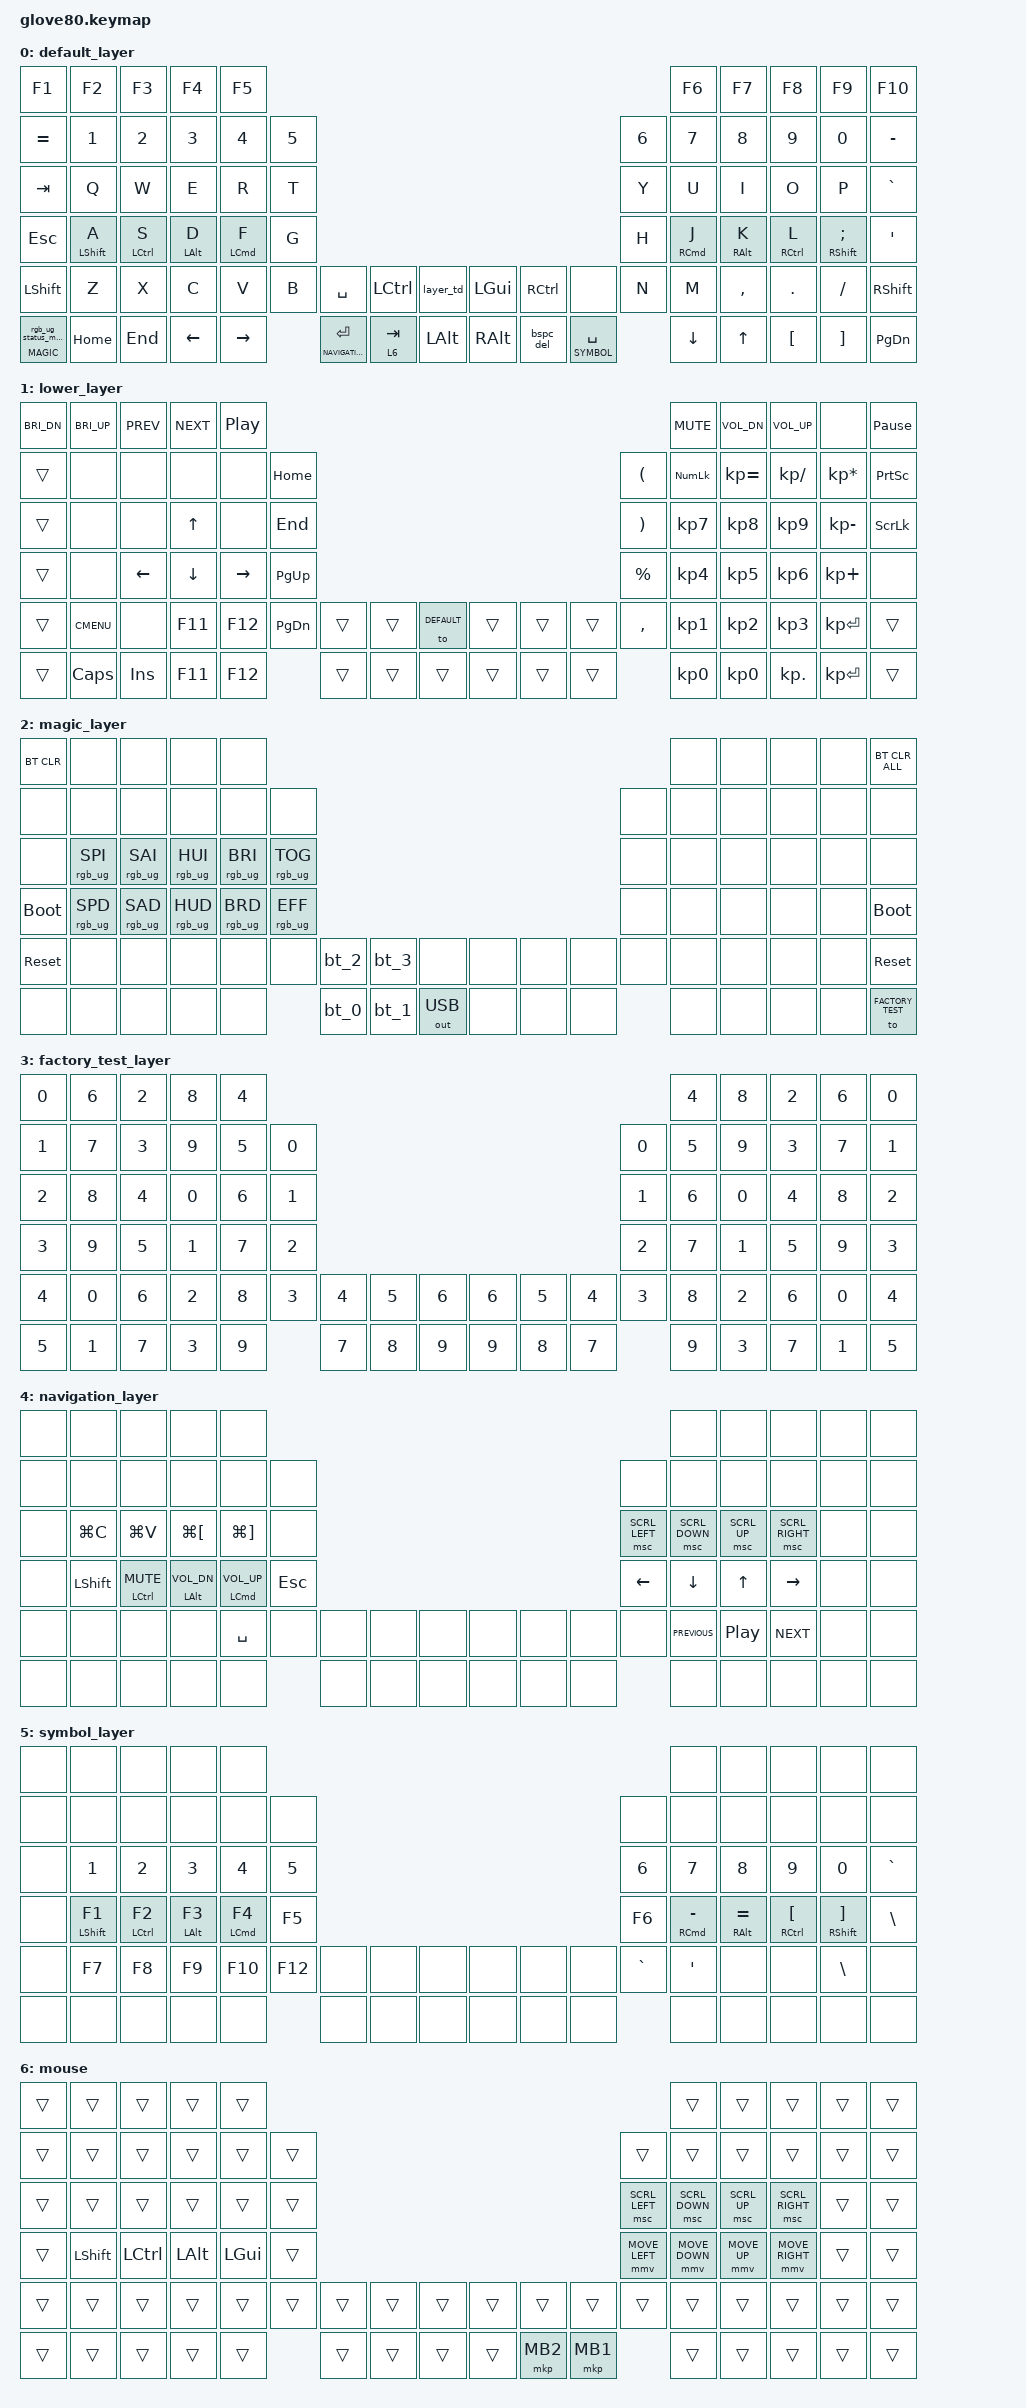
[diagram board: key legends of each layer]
/*
 * Copyright (c) 2020 The ZMK Contributors
 *
 * SPDX-License-Identifier: MIT
 */

#include <behaviors.dtsi>
#include <dt-bindings/zmk/bt.h>
#include <dt-bindings/zmk/keys.h>
#include <dt-bindings/zmk/outputs.h>
#include <dt-bindings/zmk/pointing.h>
#include <dt-bindings/zmk/rgb.h>

#define HYPER LC(LS(LG(LALT)))
#define ZMK_POINTING_DEFAULT_MOVE_VAL 1000

// layers

#define DEFAULT 0
#define LOWER 1
#define MAGIC 2
#define FACTORY_TEST 3
#define NAVIGATION 4
#define SYMBOL 5

/ {
    behaviors {
        // For the "layer" key, it'd nice to be able to use it as either a shift or a toggle.
        // Configure it as a tap dance, so the first tap (or hold) is a &mo and the second tap is a &to

        layer_td: tap_dance_0 {
            compatible = "zmk,behavior-tap-dance";
            label = "LAYER_TAP_DANCE";
            #binding-cells = <0>;
            tapping-term-ms = <200>;
            bindings = <&mo LOWER>, <&to LOWER>;
        };

        magic: magic_hold_tap {
            compatible = "zmk,behavior-hold-tap";
            label = "MAGIC_HOLD_TAP";
            #binding-cells = <2>;
            flavor = "tap-preferred";
            tapping-term-ms = <200>;
            bindings = <&mo>, <&rgb_ug_status_macro>;
        };

        hm: homerow_mods {
            compatible = "zmk,behavior-hold-tap";
            label = "HOMEROW_MODS";
            #binding-cells = <2>;
            tapping-term-ms = <200>;
            quick_tap_ms = <175>;
            flavor = "tap-preferred";
            bindings = <&kp>, <&kp>;
        };

        hm_ex: homerow_mods_extended {
            compatible = "zmk,behavior-hold-tap";
            label = "HOMEROW_MODS_EXTENDED";
            #binding-cells = <2>;
            tapping-term-ms = <275>;
            quick_tap_ms = <175>;
            flavor = "tap-preferred";
            bindings = <&kp>, <&kp>;
        };

        bspc_del: backspace_delete {
            compatible = "zmk,behavior-mod-morph";
            #binding-cells = <0>;
            bindings = <&kp BACKSPACE>, <&kp DELETE>;

            mods = <(MOD_LSFT|MOD_RSFT)>;
            keep-mods = <(MOD_RSFT)>;
        };
    };

    macros {
        rgb_ug_status_macro: rgb_ug_status_macro_0 {
            label = "RGB_UG_STATUS";
            compatible = "zmk,behavior-macro";
            #binding-cells = <0>;
            bindings = <&rgb_ug RGB_STATUS>;
        };

        bt_0: bt_profile_macro_0 {
            label = "BT_0";
            compatible = "zmk,behavior-macro";
            #binding-cells = <0>;
            bindings = <&out OUT_BLE &bt BT_SEL 0>;
        };

        bt_1: bt_profile_macro_1 {
            label = "BT_1";
            compatible = "zmk,behavior-macro";
            #binding-cells = <0>;
            bindings = <&out OUT_BLE &bt BT_SEL 1>;
        };

        bt_2: bt_profile_macro_2 {
            label = "BT_2";
            compatible = "zmk,behavior-macro";
            #binding-cells = <0>;
            bindings = <&out OUT_BLE &bt BT_SEL 2>;
        };

        bt_3: bt_profile_macro_3 {
            label = "BT_3";
            compatible = "zmk,behavior-macro";
            #binding-cells = <0>;
            bindings = <&out OUT_BLE &bt BT_SEL 3>;
        };
    };

    keymap {
        compatible = "zmk,keymap";

        default_layer {
            bindings = <
&kp F1          &kp F2            &kp F3                 &kp F4             &kp F5                                                                                                                      &kp F6                  &kp F7              &kp F8                  &kp F9                &kp F10
&kp EQUAL       &kp N1            &kp N2                 &kp N3             &kp N4                 &kp N5                                                                                       &kp N6  &kp N7                  &kp N8              &kp N9                  &kp N0                &kp MINUS
&kp TAB         &kp Q             &kp W                  &kp E              &kp R                  &kp T                                                                                        &kp Y   &kp U                   &kp I               &kp O                   &kp P                 &kp GRAVE
&kp ESC         &hm LEFT_SHIFT A  &hm_ex LEFT_CONTROL S  &hm_ex LEFT_ALT D  &hm_ex LEFT_COMMAND F  &kp G                                                                                        &kp H   &hm_ex RIGHT_COMMAND J  &hm_ex RIGHT_ALT K  &hm_ex RIGHT_CONTROL L  &hm RIGHT_SHIFT SEMI  &kp SQT
&kp LEFT_SHIFT  &kp Z             &kp X                  &kp C              &kp V                  &kp B   &kp SPACE             &kp LCTRL  &layer_td    &kp LGUI  &kp RCTRL  &none             &kp N   &kp M                   &kp COMMA           &kp DOT                 &kp FSLH              &kp RIGHT_SHIFT
&magic MAGIC 0  &kp HOME          &kp END                &kp LEFT           &kp RIGHT                      &lt NAVIGATION ENTER  &lt 6 TAB  &kp LALT     &kp RALT  &bspc_del  &lt SYMBOL SPACE          &kp DOWN                &kp UP              &kp LBKT                &kp RBKT              &kp PG_DN
            >;
        };

        lower_layer {
            bindings = <
&kp C_BRI_DN  &kp C_BRI_UP  &kp C_PREV  &kp C_NEXT  &kp C_PP                                                                                &kp C_MUTE  &kp C_VOL_DN  &kp C_VOL_UP   &none            &kp PAUSE_BREAK
&trans        &none         &none       &none       &none      &kp HOME                                                          &kp LPAR   &kp KP_NUM  &kp KP_EQUAL  &kp KP_DIVIDE  &kp KP_MULTIPLY  &kp PSCRN
&trans        &none         &none       &kp UP      &none      &kp END                                                           &kp RPAR   &kp KP_N7   &kp KP_N8     &kp KP_N9      &kp KP_MINUS     &kp SLCK
&trans        &none         &kp LEFT    &kp DOWN    &kp RIGHT  &kp PG_UP                                                         &kp PRCNT  &kp KP_N4   &kp KP_N5     &kp KP_N6      &kp KP_PLUS      &none
&trans        &kp K_CMENU   &none       &kp F11     &kp F12    &kp PG_DN  &trans  &trans  &to DEFAULT    &trans  &trans  &trans  &kp COMMA  &kp KP_N1   &kp KP_N2     &kp KP_N3      &kp KP_ENTER     &trans
&trans        &kp CAPS      &kp INS     &kp F11     &kp F12               &trans  &trans  &trans         &trans  &trans  &trans             &kp KP_N0   &kp KP_N0     &kp KP_DOT     &kp KP_ENTER     &trans
            >;
        };

        magic_layer {
            bindings = <
&bt BT_CLR   &none            &none            &none            &none                                                                                       &none  &none  &none  &none  &bt BT_CLR_ALL
&none        &none            &none            &none            &none            &none                                                               &none  &none  &none  &none  &none  &none
&none        &rgb_ug RGB_SPI  &rgb_ug RGB_SAI  &rgb_ug RGB_HUI  &rgb_ug RGB_BRI  &rgb_ug RGB_TOG                                                     &none  &none  &none  &none  &none  &none
&bootloader  &rgb_ug RGB_SPD  &rgb_ug RGB_SAD  &rgb_ug RGB_HUD  &rgb_ug RGB_BRD  &rgb_ug RGB_EFF                                                     &none  &none  &none  &none  &none  &bootloader
&sys_reset   &none            &none            &none            &none            &none            &bt_2  &bt_3  &none           &none  &none  &none  &none  &none  &none  &none  &none  &sys_reset
&none        &none            &none            &none            &none                             &bt_0  &bt_1  &out OUT_USB    &none  &none  &none         &none  &none  &none  &none  &to FACTORY_TEST
            >;
        };

        factory_test_layer {
            bindings = <
&kp N0  &kp N6  &kp N2  &kp N8  &kp N4                                                                    &kp N4  &kp N8  &kp N2  &kp N6  &kp N0
&kp N1  &kp N7  &kp N3  &kp N9  &kp N5  &kp N0                                                    &kp N0  &kp N5  &kp N9  &kp N3  &kp N7  &kp N1
&kp N2  &kp N8  &kp N4  &kp N0  &kp N6  &kp N1                                                    &kp N1  &kp N6  &kp N0  &kp N4  &kp N8  &kp N2
&kp N3  &kp N9  &kp N5  &kp N1  &kp N7  &kp N2                                                    &kp N2  &kp N7  &kp N1  &kp N5  &kp N9  &kp N3
&kp N4  &kp N0  &kp N6  &kp N2  &kp N8  &kp N3  &kp N4  &kp N5  &kp N6    &kp N6  &kp N5  &kp N4  &kp N3  &kp N8  &kp N2  &kp N6  &kp N0  &kp N4
&kp N5  &kp N1  &kp N7  &kp N3  &kp N9          &kp N7  &kp N8  &kp N9    &kp N9  &kp N8  &kp N7          &kp N9  &kp N3  &kp N7  &kp N1  &kp N5
            >;
        };

        navigation_layer {
            bindings = <
&none  &none           &none                    &none                  &none                                                                                              &none           &none             &none            &none  &none
&none  &none           &none                    &none                  &none                      &none                                                   &none           &none           &none             &none            &none  &none
&none  &kp LG(C)       &kp LG(V)                &kp LG(LBKT)           &kp LG(RBKT)               &none                                                   &msc SCRL_LEFT  &msc SCRL_DOWN  &msc SCRL_UP      &msc SCRL_RIGHT  &none  &none
&none  &kp LEFT_SHIFT  &hm LEFT_CONTROL C_MUTE  &hm LEFT_ALT C_VOL_DN  &hm LEFT_COMMAND C_VOL_UP  &kp ESCAPE                                              &kp LEFT        &kp DOWN        &kp UP            &kp RIGHT        &none  &none
&none  &none           &none                    &none                  &kp SPACE                  &none       &none  &none  &none    &none  &none  &none  &none           &kp C_PREVIOUS  &kp C_PLAY_PAUSE  &kp C_NEXT       &none  &none
&none  &none           &none                    &none                  &none                                  &none  &none  &none    &none  &none  &none                  &none           &none             &none            &none  &none
            >;
        };

        symbol_layer {
            bindings = <
&none  &none              &none                &none            &none                                                                                &none                    &none                &none                   &none                 &none
&none  &none              &none                &none            &none                &none                                                &none      &none                    &none                &none                   &none                 &none
&none  &kp N1             &kp N2               &kp N3           &kp N4               &kp N5                                               &kp N6     &kp N7                   &kp N8               &kp N9                  &kp N0                &kp GRAVE
&none  &hm LEFT_SHIFT F1  &hm LEFT_CONTROL F2  &hm LEFT_ALT F3  &hm LEFT_COMMAND F4  &kp F5                                               &kp F6     &hm RIGHT_COMMAND MINUS  &hm RIGHT_ALT EQUAL  &hm RIGHT_CONTROL LBKT  &hm RIGHT_SHIFT RBKT  &kp BSLH
&none  &kp F7             &kp F8               &kp F9           &kp F10              &kp F12  &none  &none  &none    &none  &none  &none  &kp GRAVE  &kp APOSTROPHE           &none                &none                   &kp BSLH              &none
&none  &none              &none                &none            &none                         &none  &none  &none    &none  &none  &none             &none                    &none                &none                   &none                 &none
            >;
        };

        mouse {
            bindings = <
&trans  &trans     &trans     &trans    &trans                                                                                  &trans          &trans        &trans           &trans  &trans
&trans  &trans     &trans     &trans    &trans    &trans                                                        &trans          &trans          &trans        &trans           &trans  &trans
&trans  &trans     &trans     &trans    &trans    &trans                                                        &msc SCRL_LEFT  &msc SCRL_DOWN  &msc SCRL_UP  &msc SCRL_RIGHT  &trans  &trans
&trans  &kp LSHFT  &kp LCTRL  &kp LALT  &kp LGUI  &trans                                                        &mmv MOVE_LEFT  &mmv MOVE_DOWN  &mmv MOVE_UP  &mmv MOVE_RIGHT  &trans  &trans
&trans  &trans     &trans     &trans    &trans    &trans  &trans  &trans  &trans    &trans  &trans    &trans    &trans          &trans          &trans        &trans           &trans  &trans
&trans  &trans     &trans     &trans    &trans            &trans  &trans  &trans    &trans  &mkp MB2  &mkp MB1                  &trans          &trans        &trans           &trans  &trans
            >;
        };
    };
};
